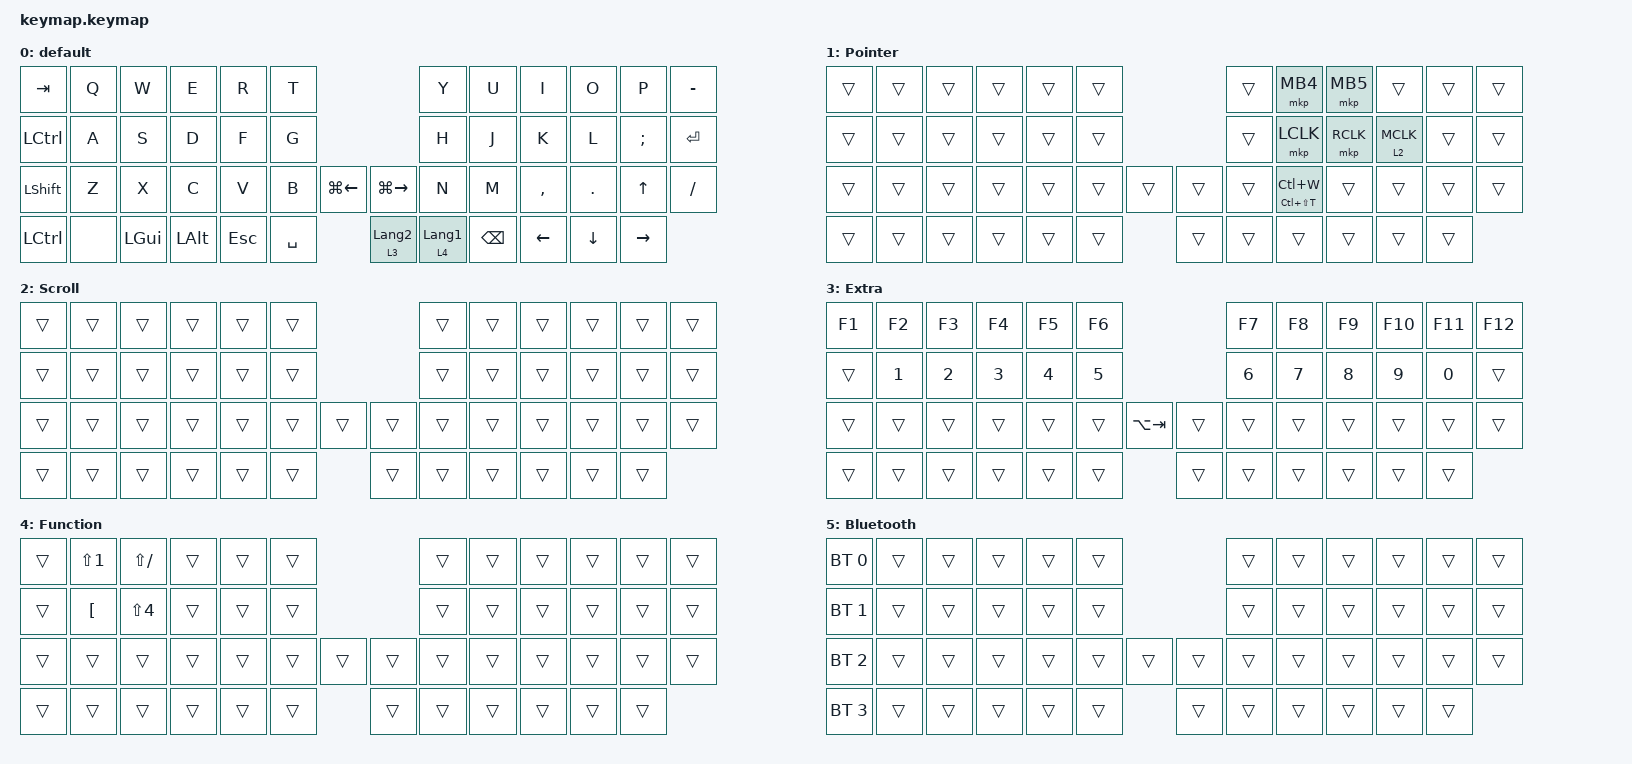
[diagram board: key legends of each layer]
#include <behaviors.dtsi>
#include <dt-bindings/zmk/bt.h>
#include <dt-bindings/zmk/keys.h>
#include <dt-bindings/zmk/outputs.h>
#include <dt-bindings/zmk/pointing.h>

/* macOS swaps Cmd/Ctrl: send LG for shortcuts that should act as Ctrl. */

/ {
    behaviors {
        mclk_lt: mclk_layer_tap {
            compatible = "zmk,behavior-hold-tap";
            #binding-cells = <2>;
            flavor = "tap-preferred";
            tapping-term-ms = <200>;
            bindings = <&mo>, <&mkp>;
        };

        shortcut_ht: shortcut_hold_tap {
            compatible = "zmk,behavior-hold-tap";
            #binding-cells = <2>;
            flavor = "tap-preferred";
            tapping-term-ms = <200>;
            bindings = <&kp>, <&kp>;
        };

        ble_clear_hold: ble_clear_hold_tap {
            compatible = "zmk,behavior-hold-tap";
            #binding-cells = <2>;
            flavor = "tap-preferred";
            tapping-term-ms = <200>;
            bindings = <&clear_bluetooth>, <&none>;
        };
    };

    macros {
        clear_bluetooth: clear_bluetooth {
            compatible = "zmk,behavior-macro";
            #binding-cells = <0>;
            bindings = <&bt BT_CLR>;
        };
    };

    combos {
        compatible = "zmk,combos";

        delete_combo {
            timeout-ms = <50>;
            bindings = <&kp DELETE>;
            key-positions = <10 11>;
            layers = <0>;
        };

        mission_control {
            timeout-ms = <50>;
            bindings = <&kp LG(UP)>;
            key-positions = <30 31>;
            layers = <0>;
        };

        bt_clear {
            bindings = <&ble_clear_hold 0 0>;
            key-positions = <30 31>;
            layers = <5>;
        };

        ble_settings {
            timeout-ms = <50>;
            bindings = <&mo 5>;
            key-positions = <44 45>;
            layers = <0>;
        };
    };

    keymap {
        compatible = "zmk,keymap";

        /*
         * Binding order by physical coordinate:
         * r0: c0-c5, c8-c13
         * r1: c0-c5, c8-c13
         * r2: c0-c13
         * r3: c0-c8, c11-c13
         */
        layer_0 {
            display-name = "default";
            bindings = <
&kp TAB     &kp Q  &kp W     &kp E     &kp R        &kp T                                               &kp Y     &kp U     &kp I      &kp O     &kp P     &kp MINUS
&kp LCTRL  &kp A  &kp S  &kp D  &kp F  &kp G                                               &kp H     &kp J     &kp K      &kp L     &kp SEMI  &kp ENTER
&kp LSHFT   &kp Z  &kp X     &kp C     &kp V        &kp B       &kp LG(LEFT)              &kp LG(RIGHT)                 &kp N     &kp M     &kp COMMA  &kp DOT   &kp UP    &kp FSLH
&kp LCTRL  &none  &kp LGUI  &kp LALT  &kp ESCAPE  &kp SPACE   &lt 3 LANGUAGE_2  &lt 4 LANGUAGE_1  &kp BSPC                    &kp LEFT  &kp DOWN  &kp RIGHT
            >;
        };

        layer_1 {
            display-name = "Pointer";
            bindings = <
&trans  &trans  &trans  &trans  &trans  &trans                    &trans    &mkp MB4   &mkp MB5   &trans                      &trans  &trans
&trans  &trans  &trans  &trans  &trans  &trans                    &trans    &mkp LCLK  &mkp RCLK  &mclk_lt 2 MCLK  &trans  &trans
&trans  &trans  &trans  &trans  &trans  &trans  &trans  &trans    &trans    &shortcut_ht LC(LS(T)) LC(W)     &trans     &trans                      &trans  &trans
&trans  &trans  &trans  &trans  &trans  &trans  &trans  &trans    &trans                          &trans                      &trans  &trans
            >;
        };

        layer_2 {
            display-name = "Scroll";
            bindings = <
&trans  &trans  &trans  &trans  &trans  &trans                    &trans  &trans  &trans  &trans  &trans  &trans
&trans  &trans  &trans  &trans  &trans  &trans                    &trans  &trans  &trans  &trans  &trans  &trans
&trans  &trans  &trans  &trans  &trans  &trans  &trans  &trans    &trans  &trans  &trans  &trans  &trans  &trans
&trans  &trans  &trans  &trans  &trans  &trans  &trans  &trans    &trans                  &trans  &trans  &trans
            >;
        };

        layer_3 {
            display-name = "Extra";
            bindings = <
&kp F1  &kp F2  &kp F3  &kp F4  &kp F5  &kp F6                  &kp F7        &kp F8  &kp F9  &kp F10  &kp F11  &kp F12
&trans  &kp N1  &kp N2  &kp N3  &kp N4  &kp N5                  &kp N6        &kp N7  &kp N8  &kp N9   &kp N0   &trans
&trans  &trans  &trans  &trans  &trans  &trans  &kp LA(TAB)  &trans  &trans        &trans  &trans  &trans   &trans   &trans
&trans  &trans  &trans  &trans  &trans  &trans  &trans  &trans  &trans                        &trans   &trans   &trans
            >;
        };

        layer_4 {
            display-name = "Function";
            bindings = <
&trans  &kp LS(N1)  &kp LS(FSLH)  &trans  &trans  &trans                    &trans  &trans  &trans  &trans  &trans  &trans
&trans  &kp LBKT  &kp LS(N4)  &trans  &trans  &trans                    &trans  &trans  &trans  &trans  &trans  &trans
&trans  &trans  &trans  &trans  &trans  &trans  &trans  &trans    &trans  &trans  &trans  &trans  &trans  &trans
&trans  &trans  &trans  &trans  &trans  &trans  &trans  &trans    &trans                  &trans  &trans  &trans
            >;
        };

        layer_5 {
            display-name = "Bluetooth";
            bindings = <
&bt BT_SEL 0  &trans  &trans  &trans  &trans  &trans                    &trans  &trans  &trans  &trans  &trans  &trans
&bt BT_SEL 1  &trans  &trans  &trans  &trans  &trans                    &trans  &trans  &trans  &trans  &trans  &trans
&bt BT_SEL 2  &trans  &trans  &trans  &trans  &trans  &trans  &trans    &trans  &trans  &trans  &trans  &trans  &trans
&bt BT_SEL 3  &trans  &trans  &trans  &trans  &trans  &trans  &trans    &trans                  &trans  &trans  &trans
            >;
        };
    };
};
